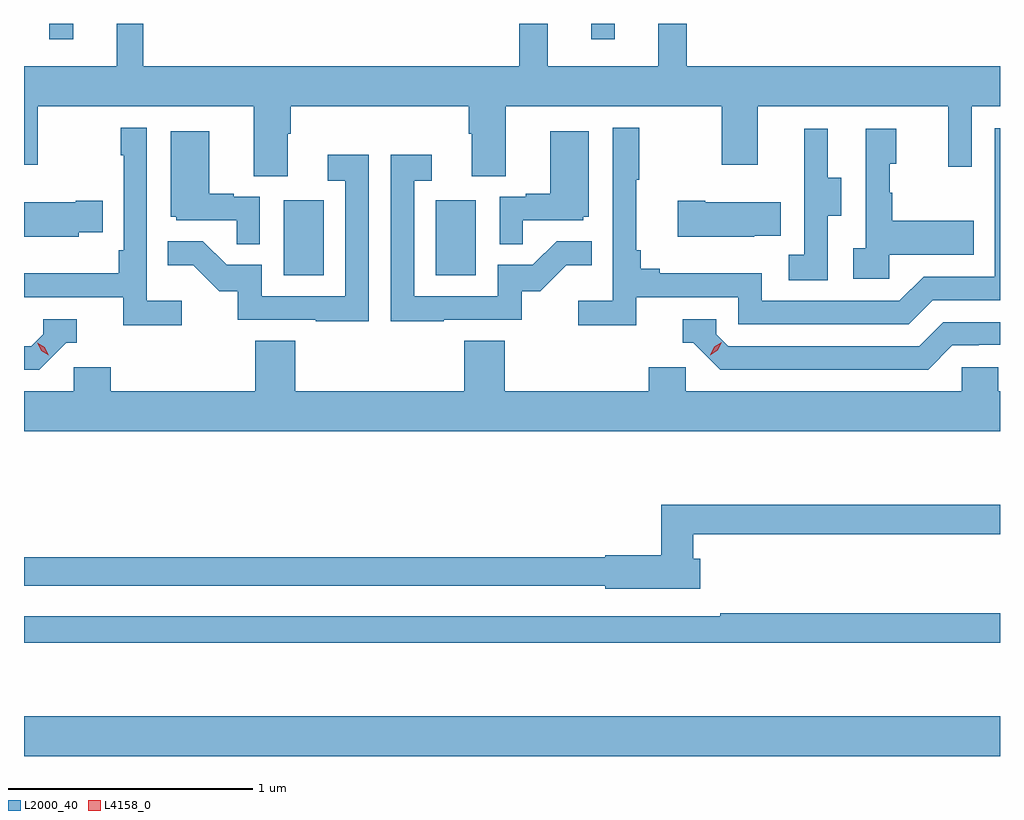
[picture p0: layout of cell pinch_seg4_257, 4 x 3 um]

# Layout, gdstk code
import gdstk
lib = gdstk.Library(unit=1e-6, precision=1e-09)
def R(c, l, rs):  # rectangles x0, y0, x1, y1
    for r in rs: c.add(gdstk.rectangle(r[:2], r[2:], *l))
def P(c, l, *ps):  # polygons
    for p in ps: c.add(gdstk.Polygon(p, *l))
L2000_40 = (2000, 40)
L4158_0 = (4158, 0)

pinch_seg4_257 = lib.new_cell('pinch_seg4_257')
R(pinch_seg4_257, L2000_40, [(924.648,822.128,928.648,822.292), (925.712,824.1,925.876,824.407), (926.336,824.1,926.5,824.407), (924.752,825.066,924.849,825.131), (926.972,825.066,927.069,825.131)])
P(pinch_seg4_257, L2000_40, [(925.729,824.68),(925.742,824.68),(925.742,824.792),(926.471,824.792),(926.471,824.68),(926.483,824.68),(926.483,824.506),(926.623,824.506),(926.623,824.792),(927.508,824.792),(927.508,824.553),(927.655,824.553),(927.655,824.792),(928.436,824.792),(928.436,824.544),(928.533,824.544),(928.533,824.792),(928.648,824.792),(928.648,824.956),(927.365,824.956),(927.365,825.131),(927.248,825.131),(927.248,824.956),(926.795,824.956),(926.795,825.131),(926.677,825.131),(926.677,824.956),(925.136,824.956),(925.136,825.131),(925.028,825.131),(925.028,824.956),(924.648,824.956),(924.648,824.553),(924.705,824.553),(924.705,824.792),(925.589,824.792),(925.589,824.506),(925.729,824.506)],
  [(925.294,823.996),(925.152,823.996),(925.152,824.704),(925.044,824.704),(925.044,824.591),(925.056,824.591),(925.056,824.203),(925.036,824.203),(925.036,824.107),(924.648,824.107),(924.648,824.01),(925.055,824.01),(925.055,823.894),(925.294,823.894)],
  [(927.158,824.01),(927.576,824.01),(927.576,823.899),(928.273,823.899),(928.372,823.998),(928.648,823.998),(928.648,824.703),(928.626,824.703),(928.626,824.094),(928.335,824.094),(928.236,823.995),(927.672,823.995),(927.672,824.107),(927.253,824.107),(927.253,824.126),(927.176,824.126),(927.176,824.203),(927.157,824.203),(927.157,824.491),(927.169,824.491),(927.169,824.704),(927.06,824.704),(927.06,823.996),(926.919,823.996),(926.919,823.894),(927.158,823.894)],
  [(927.942,824.344),(927.997,824.344),(927.997,824.499),(927.943,824.499),(927.943,824.701),(927.845,824.701),(927.845,824.487),(927.846,824.487),(927.846,824.183),(927.783,824.183),(927.783,824.08),(927.942,824.08)],
  [(928.194,824.183),(928.541,824.183),(928.541,824.323),(928.207,824.323),(928.207,824.438),(928.197,824.438),(928.197,824.556),(928.222,824.556),(928.222,824.701),(928.098,824.701),(928.098,824.21),(928.047,824.21),(928.047,824.085),(928.194,824.085)],
  [(926.693,824.325),(926.94,824.325),(926.94,824.34),(926.962,824.34),(926.962,824.689),(926.804,824.689),(926.804,824.434),(926.705,824.434),(926.705,824.421),(926.598,824.421),(926.598,824.227),(926.693,824.227)],
  [(925.614,824.421),(925.508,824.421),(925.508,824.434),(925.408,824.434),(925.408,824.689),(925.25,824.689),(925.25,824.34),(925.272,824.34),(925.272,824.325),(925.519,824.325),(925.519,824.227),(925.614,824.227)],
  [(926.369,823.917),(926.688,823.917),(926.688,824.034),(926.764,824.034),(926.871,824.141),(926.975,824.141),(926.975,824.24),(926.831,824.24),(926.733,824.142),(926.589,824.142),(926.589,824.013),(926.247,824.013),(926.247,824.487),(926.32,824.487),(926.32,824.593),(926.151,824.593),(926.151,823.912),(926.369,823.912)],
  [(926.061,824.593),(925.893,824.593),(925.893,824.487),(925.965,824.487),(925.965,824.013),(925.623,824.013),(925.623,824.142),(925.479,824.142),(925.381,824.24),(925.237,824.24),(925.237,824.141),(925.341,824.141),(925.448,824.034),(925.525,824.034),(925.525,823.917),(925.843,823.917),(925.843,823.912),(926.061,823.912)],
  [(924.873,824.276),(924.971,824.276),(924.971,824.406),(924.86,824.406),(924.86,824.398),(924.648,824.398),(924.648,824.258),(924.873,824.258)],
  [(927.641,824.261),(927.749,824.261),(927.749,824.398),(927.439,824.398),(927.439,824.406),(927.327,824.406),(927.327,824.258),(927.641,824.258)],
  [(928.453,823.812),(928.56,823.812),(928.56,823.815),(928.648,823.815),(928.648,823.908),(928.416,823.908),(928.317,823.809),(927.534,823.809),(927.486,823.857),(927.486,823.92),(927.347,823.92),(927.347,823.824),(927.39,823.824),(927.501,823.713),(928.354,823.713)],
  [(924.822,823.824),(924.865,823.824),(924.865,823.92),(924.726,823.92),(924.726,823.857),(924.678,823.809),(924.648,823.809),(924.648,823.713),(924.711,823.713)],
  [(928.648,823.624),(928.641,823.624),(928.641,823.722),(928.491,823.722),(928.491,823.624),(927.36,823.624),(927.36,823.722),(927.209,823.722),(927.209,823.624),(926.618,823.624),(926.618,823.832),(926.453,823.832),(926.453,823.624),(925.76,823.624),(925.76,823.832),(925.595,823.832),(925.595,823.624),(925.004,823.624),(925.004,823.722),(924.852,823.722),(924.852,823.624),(924.648,823.624),(924.648,823.46),(928.648,823.46)],
  [(927.419,822.937),(927.391,822.937),(927.391,823.038),(928.648,823.038),(928.648,823.159),(927.259,823.159),(927.259,822.952),(927.03,822.952),(927.03,822.944),(924.648,822.944),(924.648,822.828),(927.03,822.828),(927.03,822.815),(927.419,822.815)],
  [(928.648,822.715),(927.502,822.715),(927.502,822.702),(924.648,822.702),(924.648,822.594),(928.648,822.594)])
P(pinch_seg4_257, L4158_0, [(924.749,823.771),(924.718,823.791),(924.703,823.824),(924.703,823.824),(924.703,823.824),(924.734,823.804),(924.749,823.771),(924.749,823.771)],
  [(927.461,823.772),(927.461,823.773),(927.477,823.806),(927.508,823.825),(927.508,823.825),(927.508,823.825),(927.492,823.792),(927.461,823.772)])

lib.write_gds('pinch_seg4_257.gds')
